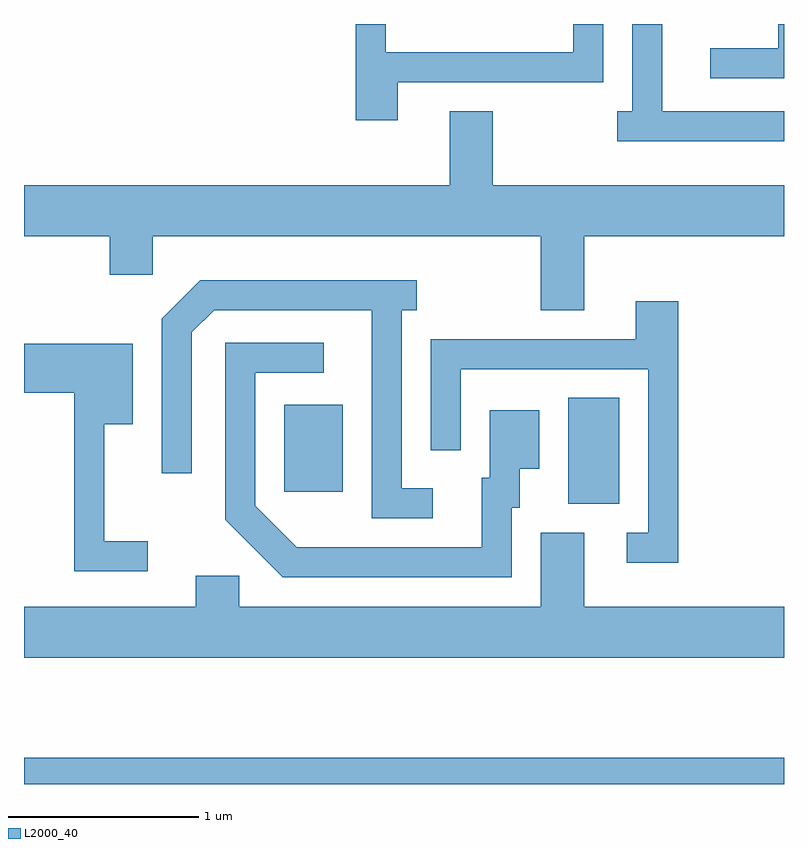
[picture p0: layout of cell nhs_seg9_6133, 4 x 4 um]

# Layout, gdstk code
import gdstk
lib = gdstk.Library(unit=1e-6, precision=1e-09)
def R(c, l, rs):  # rectangles x0, y0, x1, y1
    for r in rs: c.add(gdstk.rectangle(r[:2], r[2:], *l))
def P(c, l, *ps):  # polygons
    for p in ps: c.add(gdstk.Polygon(p, *l))
L2000_40 = (2000, 40)

nhs_seg9_6133 = lib.new_cell('nhs_seg9_6133')
R(nhs_seg9_6133, L2000_40, [(365.611,2044.432,369.611,2044.569), (368.476,2045.906,368.744,2046.464), (366.981,2045.971,367.289,2046.429)])
P(nhs_seg9_6133, L2000_40, [(367.579,2048.126),(368.659,2048.126),(368.659,2048.432),(368.501,2048.432),(368.501,2048.284),(367.514,2048.284),(367.514,2048.432),(367.356,2048.432),(367.356,2047.926),(367.579,2047.926)],
  [(369.611,2047.974),(368.969,2047.974),(368.969,2048.432),(368.811,2048.432),(368.811,2047.974),(368.733,2047.974),(368.733,2047.816),(369.611,2047.816)],
  [(369.611,2048.432),(369.581,2048.432),(369.581,2048.304),(369.223,2048.304),(369.223,2048.146),(369.611,2048.146)],
  [(368.559,2047.316),(369.611,2047.316),(369.611,2047.584),(368.079,2047.584),(368.079,2047.974),(367.851,2047.974),(367.851,2047.584),(365.611,2047.584),(365.611,2047.316),(366.061,2047.316),(366.061,2047.111),(366.289,2047.111),(366.289,2047.316),(368.331,2047.316),(368.331,2046.926),(368.559,2046.926)],
  [(367.763,2045.989),(367.599,2045.989),(367.599,2046.926),(367.678,2046.926),(367.678,2047.084),(366.539,2047.084),(366.336,2046.882),(366.336,2046.068),(366.494,2046.068),(366.494,2046.809),(366.612,2046.926),(367.441,2046.926),(367.441,2045.831),(367.763,2045.831)],
  [(369.054,2046.974),(368.831,2046.974),(368.831,2046.774),(367.751,2046.774),(367.751,2046.188),(367.909,2046.188),(367.909,2046.616),(368.896,2046.616),(368.896,2045.754),(368.783,2045.754),(368.783,2045.596),(369.054,2045.596)],
  [(368.179,2045.886),(368.219,2045.886),(368.219,2046.091),(368.324,2046.091),(368.324,2046.399),(368.061,2046.399),(368.061,2046.044),(368.021,2046.044),(368.021,2045.679),(367.047,2045.679),(366.829,2045.897),(366.829,2046.596),(367.188,2046.596),(367.188,2046.754),(366.671,2046.754),(366.671,2045.824),(366.974,2045.521),(368.179,2045.521)],
  [(366.263,2045.709),(366.034,2045.709),(366.034,2046.326),(366.184,2046.326),(366.184,2046.749),(365.611,2046.749),(365.611,2046.491),(365.876,2046.491),(365.876,2045.551),(366.263,2045.551)],
  [(369.611,2045.364),(368.559,2045.364),(368.559,2045.754),(368.331,2045.754),(368.331,2045.364),(366.744,2045.364),(366.744,2045.529),(366.516,2045.529),(366.516,2045.364),(365.611,2045.364),(365.611,2045.096),(369.611,2045.096)])

lib.write_gds('nhs_seg9_6133.gds')
